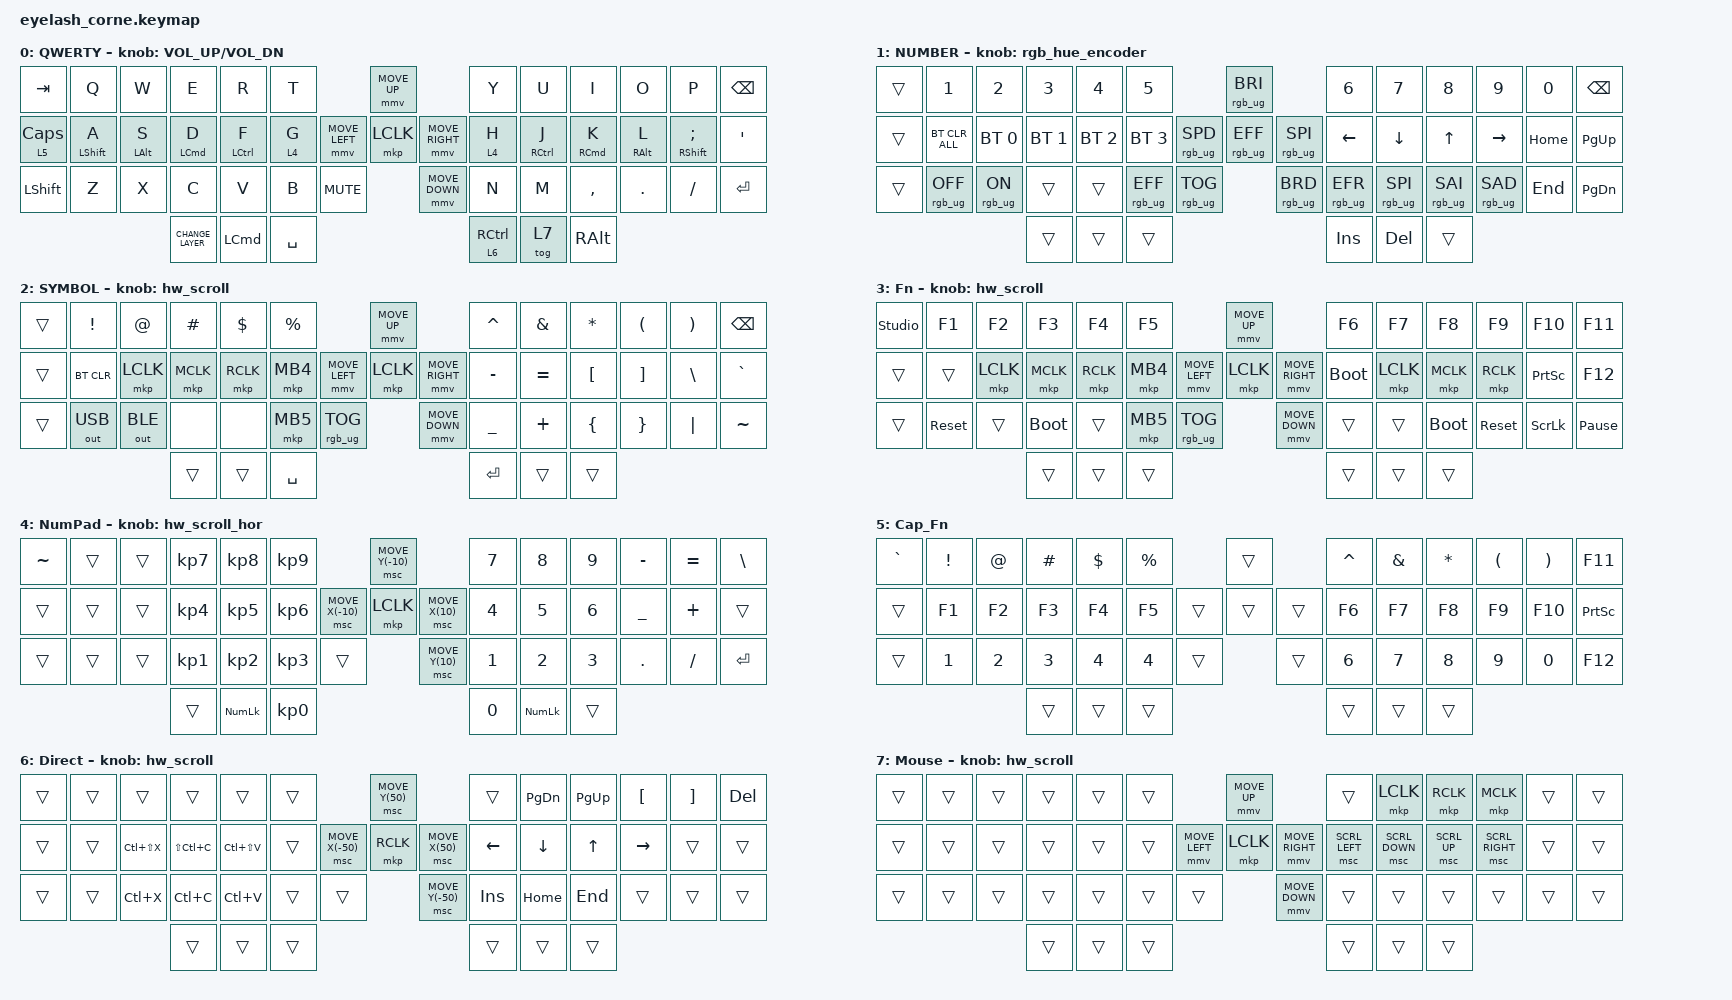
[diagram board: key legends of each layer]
#define ZMK_POINTING_DEFAULT_MOVE_VAL 1200  // 600
#define ZMK_POINTING_DEFAULT_SCRL_VAL 25   // 10

#include <input/processors.dtsi>
#include <zephyr/dt-bindings/input/input-event-codes.h>
#include <behaviors.dtsi>
#include <dt-bindings/zmk/bt.h>
#include <dt-bindings/zmk/keys.h>
#include <dt-bindings/zmk/outputs.h>
#include <dt-bindings/zmk/pointing.h>
#include <dt-bindings/zmk/rgb.h>

&mmv_input_listener { input-processors = <&zip_xy_scaler 2 1>; };

&msc_input_listener { input-processors = <&zip_scroll_scaler 2 1>; };

&msc {
    acceleration-exponent = <1>;      // 0
    time-to-max-speed-ms = <100>;       // 300
    delay-ms = <0>;                   // 0
};

&mmv {
    time-to-max-speed-ms = <500>;
    acceleration-exponent = <1>;
    trigger-period-ms = <16>;
};

&soft_off { hold-time-ms = <2000>; };

/ {
    behaviors {
        td0: td0 {
            compatible = "zmk,behavior-tap-dance";
            display-name = "Shift/Caps Lock Tap Dance";
            #binding-cells = <0>;
            bindings = <&kp LEFT_SHIFT>, <&kp CAPS>;
        };

        TAP_HOLD_LAYER_LEFT: TAP_HOLD_LAYER_LEFT {
            compatible = "zmk,behavior-hold-tap";
            bindings = <&mo>, <&kp>;

            #binding-cells = <2>;
            tapping-term-ms = <280>;
            flavor = "balanced";
            quick-tap-ms = <175>;
            require-prior-idle-ms = <150>;
            hold-trigger-on-release;
            hold-trigger-key-positions = <7 22 36 7 8 9 10 11 12 22 23 24 25 26 27 36 37 38 39 40 41 45 46 47>;
        };

        HOME_ROW_LEFT: HOME_ROW_LEFT {
            compatible = "zmk,behavior-hold-tap";
            bindings = <&kp>, <&kp>;

            #binding-cells = <2>;
            tapping-term-ms = <280>;
            flavor = "balanced";
            hold-trigger-on-release;
            require-prior-idle-ms = <150>;
            quick-tap-ms = <175>;
            hold-trigger-key-positions = <23 24 25 26 7 8 9 10 11 12 22 23 24 25 26 27 36 37 38 39 40 41 46 47 45>;
        };

        CHANGE_LAYER: CHANGE_LAYER {
            compatible = "zmk,behavior-tap-dance";
            #binding-cells = <0>;
            bindings = <&to 0>, <&to 1>, <&to 2>, <&to 3>;
        };

        rgb_hue_encoder: rgb_hue_encoder {
            compatible = "zmk,behavior-sensor-rotate";
            label = "RGB_HUE_ENCODER";
            #sensor-binding-cells = <0>;
            bindings = <&rgb_ug RGB_HUI>, <&rgb_ug RGB_HUD>;

            tap-ms = <50>;
        };

        // 定义一个名为 hw_scroll 的编码器行为

        hw_scroll: hw_scroll {
            compatible = "zmk,behavior-sensor-rotate";
            #sensor-binding-cells = <0>;
            bindings = <&msc MOVE_Y(-500)>, <&msc MOVE_Y(500)>;
            // 顺时针向下滚，逆时针向上滚
            tap-ms = <50>;

        };

        hw_scroll_hor: hw_scroll_hor {
            compatible = "zmk,behavior-sensor-rotate";
            #sensor-binding-cells = <0>;
            bindings = <&msc MOVE_X(500)>, <&msc MOVE_X(-500)>;
            // 顺时针向右滚，逆时针向左滚            
            tap-ms = <50>;

        };

        HOME_ROW_RIGHT: HOME_ROW_RIGHT {
            compatible = "zmk,behavior-hold-tap";
            bindings = <&kp>, <&kp>;

            #binding-cells = <2>;
            tapping-term-ms = <280>;
            flavor = "balanced";
            hold-trigger-on-release;
            require-prior-idle-ms = <150>;
            quick-tap-ms = <175>;
            label = "HOME_ROW_RIGHT";
            hold-trigger-key-positions = <14 15 16 17 18 0 1 2 3 4 5 13 14 15 16 17 18 28 29 30 31 32 33>;
        };

        TAP_HOLD_LAYER_RIGHT: TAP_HOLD_LAYER_RIGHT {
            compatible = "zmk,behavior-hold-tap";
            bindings = <&mo>, <&kp>;

            #binding-cells = <2>;
            tapping-term-ms = <280>;
            flavor = "balanced";
            quick-tap-ms = <175>;
            require-prior-idle-ms = <150>;
            hold-trigger-on-release;
            label = "TAP_HOLD_LAYER_RIGHT";
            hold-trigger-key-positions = <0 1 2 3 4 5 13 14 15 16 17 18 28 29 30 31 32 33 42 43 44>;
        };
    };

    combos {
        compatible = "zmk,combos";

        softoff {
            bindings = <&soft_off>;
            key-positions = <1 15 29>;
        };

        ESC_QW {
            bindings = <&kp ESCAPE>;
            key-positions = <1 2>;
            timeout-ms = <50>;
            require-prior-idle-ms = <125>;
        };

        MB2_UI {
            bindings = <&mkp RCLK>;
            key-positions = <8 9>;
            timeout-ms = <60>;
            require-prior-idle-ms = <125>;
            layers = <0>;
        };
    };

    keymap {
        compatible = "zmk,keymap";

        default_layer {
            display-name = "QWERTY";
            bindings = <
&kp TAB                          &kp Q                        &kp W                      &kp E                          &kp R                   &kp T                                                   &mmv MOVE_UP                     &kp Y                      &kp U                    &kp I                            &kp O                        &kp P                             &kp BSPC
&TAP_HOLD_LAYER_LEFT 5 CAPSLOCK  &HOME_ROW_LEFT LEFT_SHIFT A  &HOME_ROW_LEFT LEFT_ALT S  &HOME_ROW_LEFT LEFT_COMMAND D  &HOME_ROW_LEFT LCTRL F  &TAP_HOLD_LAYER_LEFT 4 G                &mmv MOVE_LEFT  &mkp LCLK       &mmv MOVE_RIGHT  &TAP_HOLD_LAYER_RIGHT 4 H  &HOME_ROW_RIGHT RCTRL J  &HOME_ROW_RIGHT RIGHT_COMMAND K  &HOME_ROW_RIGHT RIGHT_ALT L  &HOME_ROW_RIGHT RSHIFT SEMICOLON  &kp SQT
&kp LEFT_SHIFT                   &kp Z                        &kp X                      &kp C                          &kp V                   &kp B                     &kp C_MUTE                    &mmv MOVE_DOWN                   &kp N                      &kp M                    &kp COMMA                        &kp DOT                      &kp FSLH                          &kp ENTER
                                                                                         &CHANGE_LAYER                  &kp LEFT_COMMAND        &kp SPACE                                                                                &lt 6 RCTRL                &tog 7                   &kp RIGHT_ALT
            >;

            sensor-bindings = <&inc_dec_kp C_VOLUME_UP C_VOL_DN>;
        };

        lower_layer {
            display-name = "NUMBER";
            bindings = <
&trans  &kp N1           &kp N2          &kp N3        &kp N4        &kp N5                                               &rgb_ug RGB_BRI                   &kp N6           &kp N7           &kp N8           &kp N9           &kp N0    &kp BSPC
&trans  &bt BT_CLR_ALL   &bt BT_SEL 0    &bt BT_SEL 1  &bt BT_SEL 2  &bt BT_SEL 3                        &rgb_ug RGB_SPD  &rgb_ug RGB_EFF  &rgb_ug RGB_SPI  &kp LEFT         &kp DOWN         &kp UP           &kp RIGHT        &kp HOME  &kp PG_UP
&trans  &rgb_ug RGB_OFF  &rgb_ug RGB_ON  &trans        &trans        &rgb_ug RGB_EFF  &rgb_ug RGB_TOG                     &rgb_ug RGB_BRD                   &rgb_ug RGB_EFR  &rgb_ug RGB_SPI  &rgb_ug RGB_SAI  &rgb_ug RGB_SAD  &kp END   &kp PG_DN
                                         &trans        &trans        &trans                                                                                 &kp INS          &kp DEL          &trans
            >;

            sensor-bindings = <&rgb_hue_encoder>;
        };

        raise_layer {
            display-name = "SYMBOL";
            bindings = <
&trans  &kp EXCL      &kp AT        &kp HASH   &kp DLLR   &kp PRCNT                                     &mmv MOVE_UP                     &kp CARET  &kp AMPS   &kp ASTRK  &kp LPAR  &kp RPAR  &kp BSPC
&trans  &bt BT_CLR    &mkp LCLK     &mkp MCLK  &mkp RCLK  &mkp MB4                      &mmv MOVE_LEFT  &mkp LCLK       &mmv MOVE_RIGHT  &kp MINUS  &kp EQUAL  &kp LBKT   &kp RBKT  &kp BSLH  &kp GRAVE
&trans  &out OUT_USB  &out OUT_BLE  &none      &none      &mkp MB5   &rgb_ug RGB_TOG                    &mmv MOVE_DOWN                   &kp UNDER  &kp PLUS   &kp LBRC   &kp RBRC  &kp PIPE  &kp TILDE
                                    &trans     &trans     &kp SPACE                                                                      &kp RET    &trans     &trans
            >;

            sensor-bindings = <&hw_scroll>;
        };

        KBFunc {
            display-name = "Fn";
            bindings = <
&studio_unlock  &kp F1      &kp F2     &kp F3       &kp F4     &kp F5                                       &mmv MOVE_UP                     &kp F6       &kp F7     &kp F8       &kp F9      &kp F10          &kp F11
&trans          &trans      &mkp LCLK  &mkp MCLK    &mkp RCLK  &mkp MB4                     &mmv MOVE_LEFT  &mkp LCLK       &mmv MOVE_RIGHT  &bootloader  &mkp LCLK  &mkp MCLK    &mkp RCLK   &kp PRINTSCREEN  &kp F12
&trans          &sys_reset  &trans     &bootloader  &trans     &mkp MB5  &rgb_ug RGB_TOG                    &mmv MOVE_DOWN                   &trans       &trans     &bootloader  &sys_reset  &kp SCROLLLOCK   &kp PAUSE_BREAK
                                       &trans       &trans     &trans                                                                        &trans       &trans     &trans
            >;

            sensor-bindings = <&hw_scroll>;
            label = "KBFunc";
        };

        NumPad {
            bindings = <
&kp TILDE  &trans  &trans  &kp KP_NUMBER_7  &kp KP_NUMBER_8  &kp KP_NUMBER_9                              &msc MOVE_Y(-10)                   &kp NUMBER_7  &kp NUMBER_8    &kp NUMBER_9  &kp MINUS       &kp EQUAL  &kp BACKSLASH
&trans     &trans  &trans  &kp KP_NUMBER_4  &kp KP_NUMBER_5  &kp KP_NUMBER_6            &msc MOVE_X(-10)  &mkp LCLK         &msc MOVE_X(10)  &kp NUMBER_4  &kp N5          &kp NUMBER_6  &kp UNDERSCORE  &kp PLUS   &trans
&trans     &trans  &trans  &kp KP_NUMBER_1  &kp KP_NUMBER_2  &kp KP_NUMBER_3  &trans                      &msc MOVE_Y(10)                    &kp NUMBER_1  &kp NUMBER_2    &kp NUMBER_3  &kp PERIOD      &kp SLASH  &kp ENTER
                           &trans           &kp KP_NUMLOCK   &kp KP_NUMBER_0                                                                 &kp NUMBER_0  &kp KP_NUMLOCK  &trans
            >;

            sensor-bindings = <&hw_scroll_hor>;
            label = "NumPad";
        };

        CAP_Fn {
            bindings = <
&kp GRAVE  &kp EXCLAMATION  &kp AT_SIGN  &kp HASH  &kp DOLLAR  &kp PERCENT                    &trans          &kp CARET  &kp AMPERSAND  &kp ASTERISK  &kp LEFT_PARENTHESIS  &kp RIGHT_PARENTHESIS  &kp F11
&trans     &kp F1           &kp F2       &kp F3    &kp F4      &kp F5                 &trans  &trans  &trans  &kp F6     &kp F7         &kp F8        &kp F9                &kp F10                &kp PRINTSCREEN
&trans     &kp N1           &kp N2       &kp N3    &kp N4      &kp N4       &trans            &trans          &kp N6     &kp N7         &kp N8        &kp N9                &kp N0                 &kp F12
                                         &trans    &trans      &trans                                         &trans     &trans         &trans
            >;

            label = "Cap_Fn";
        };

        Direct {
            bindings = <
&trans  &trans  &trans         &trans         &trans         &trans                              &msc MOVE_Y(50)                    &trans          &kp PG_DN  &kp PG_UP  &kp LBKT   &kp RBKT  &kp DEL
&trans  &trans  &kp LC(LS(X))  &kp LS(LC(C))  &kp LC(LS(V))  &trans            &msc MOVE_X(-50)  &mkp RCLK         &msc MOVE_X(50)  &kp LEFT_ARROW  &kp DOWN   &kp UP     &kp RIGHT  &trans    &trans
&trans  &trans  &kp LC(X)      &kp LC(C)      &kp LC(V)      &trans  &trans                      &msc MOVE_Y(-50)                   &kp INSERT      &kp HOME   &kp END    &trans     &trans    &trans
                               &trans         &trans         &trans                                                                 &trans          &trans     &trans
            >;

            label = "Direct";
            sensor-bindings = <&hw_scroll>;
        };

        Mouse {
            bindings = <
&trans  &trans  &trans  &trans  &trans  &trans                            &mmv MOVE_UP                     &trans          &mkp LCLK       &mkp RCLK     &mkp MCLK        &trans  &trans
&trans  &trans  &trans  &trans  &trans  &trans            &mmv MOVE_LEFT  &mkp LCLK       &mmv MOVE_RIGHT  &msc SCRL_LEFT  &msc SCRL_DOWN  &msc SCRL_UP  &msc SCRL_RIGHT  &trans  &trans
&trans  &trans  &trans  &trans  &trans  &trans  &trans                    &mmv MOVE_DOWN                   &trans          &trans          &trans        &trans           &trans  &trans
                        &trans  &trans  &trans                                                             &trans          &trans          &trans
            >;

            label = "Mouse";
            sensor-bindings = <&hw_scroll>;
        };
    };
};
